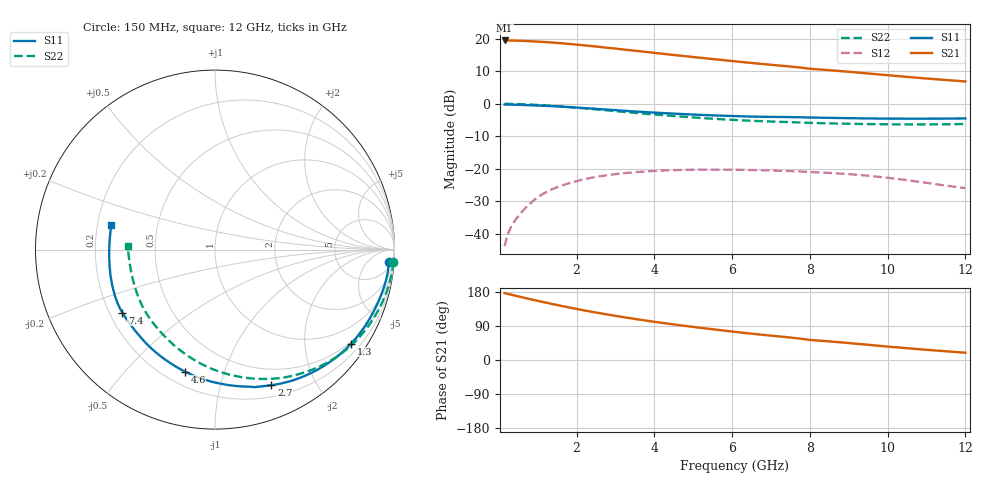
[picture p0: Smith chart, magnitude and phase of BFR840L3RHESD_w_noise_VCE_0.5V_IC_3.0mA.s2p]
! Infineon Technologies  Discrete & RF Semiconductors
! BFR840L3RHESD
! VCE =  0.5 V,  IC =  3.0 mA
! Common Emitter S-Parameters:  Jun 2012
# GHz  S  MA  R  50
!  f  S11  S21  S12  S22
! GHz  MAG  ANG  MAG  ANG  MAG  ANG  MAG  ANG
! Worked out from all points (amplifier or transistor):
!   91 points, 150 MHz to 12 GHz, reference 50 ohm
!   highest |S21| = 19.4 dB at 150 MHz (marker M1)
!   |S21| within 3 dB of that: start of sweep to 3.384 GHz
!   unconditionally stable (mu >= 1): 9.794 GHz to end of sweep
!   at 1.3 GHz: K = 0.07, MSG = 22.7 dB, |S12| = -26.7 dB
!   at 4.3 GHz: K = 0.25, MSG = 17.9 dB, |S12| = -20.5 dB
!   at 12 GHz: K = 1.99, MAG = 10.7 dB, |S12| = -25.9 dB
!   lowest NFmin = 0.41 dB at 450 MHz
!   S11 on the Smith chart (normalised r, x): 150 MHz: 9, -24; 1.3 GHz: 0.45, -3.15; 2.7 GHz: 0.32, -1.45; 4.6 GHz: 0.28, -0.74; 7.4 GHz: 0.25, -0.29; 12 GHz: 0.26, +0.11
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0.15  0.9711 -4.2  9.361 176.4  0.0065 86.6  0.9959 -4.0
0.35  0.9685 -9.7  9.321 171.6  0.0139 83.0  0.9914 -9.3
0.7  0.9526 -19.2  9.173 163.1  0.0256 74.2  0.9757 -18.2
0.9  0.9431 -24.4  9.057 158.4  0.0329 70.4  0.9636 -23.2
1.3  0.922 -34.6  8.757 149.5  0.0465 63.2  0.9346 -33.0
1.6  0.902 -42.1  8.484 143.0  0.0549 57.6  0.9087 -40.1
1.8  0.8873 -47.0  8.288 138.8  0.0599 53.9  0.8896 -44.6
2.2  0.857 -56.5  7.874 130.8  0.0692 47.2  0.8491 -53.4
2.7  0.8182 -67.4  7.328 121.8  0.0784 38.9  0.7997 -63.6
3  0.7975 -73.9  7.035 116.5  0.083 35.5  0.7704 -69.3
3.4  0.7668 -81.8  6.611 110.0  0.0878 29.5  0.7325 -76.9
3.8  0.7418 -89.5  6.225 103.8  0.0914 24.5  0.6988 -83.9
4.2  0.72 -96.9  5.861 98.0  0.094 19.9  0.6684 -90.6
4.6  0.6999 -103.9  5.522 92.5  0.0958 15.6  0.6408 -97.0
5.3  0.67 -115.6  4.992 83.5  0.0972 8.6  0.5987 -107.6
6.1  0.6449 -127.9  4.462 74.0  0.0968 1.6  0.5619 -119.0
6.8  0.63 -137.8  4.061 66.3  0.0949 -3.8  0.5386 -128.4
7.4  0.6243 -145.8  3.769 60.3  0.0928 -8.0  0.5237 -136.1
8  0.6137 -155.6  3.443 53.0  0.0894 -13.8  0.5073 -145.2
8.5  0.6066 -160.6  3.275 49.1  0.0867 -17.0  0.4995 -150.0
10.5  0.5891 178.6  2.581 31.1  0.067 -29.6  0.4813 -170.4
12  0.5944 166.8  2.199 19.2  0.0505 -30.5  0.4879 177.4
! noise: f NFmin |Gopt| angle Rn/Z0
0.45  0.41  0.69  8  0.22
0.9  0.45  0.67  12  0.22
1.9  0.5  0.62  28  0.21
3.5  0.53  0.64  46  0.19
4  0.56  0.64  54  0.18
5.5  0.62  0.65  72  0.16
7  0.71  0.6  92  0.14
8  0.79  0.58  101  0.13
10  0.93  0.51  122  0.1
12  1.11  0.43  154  0.07
